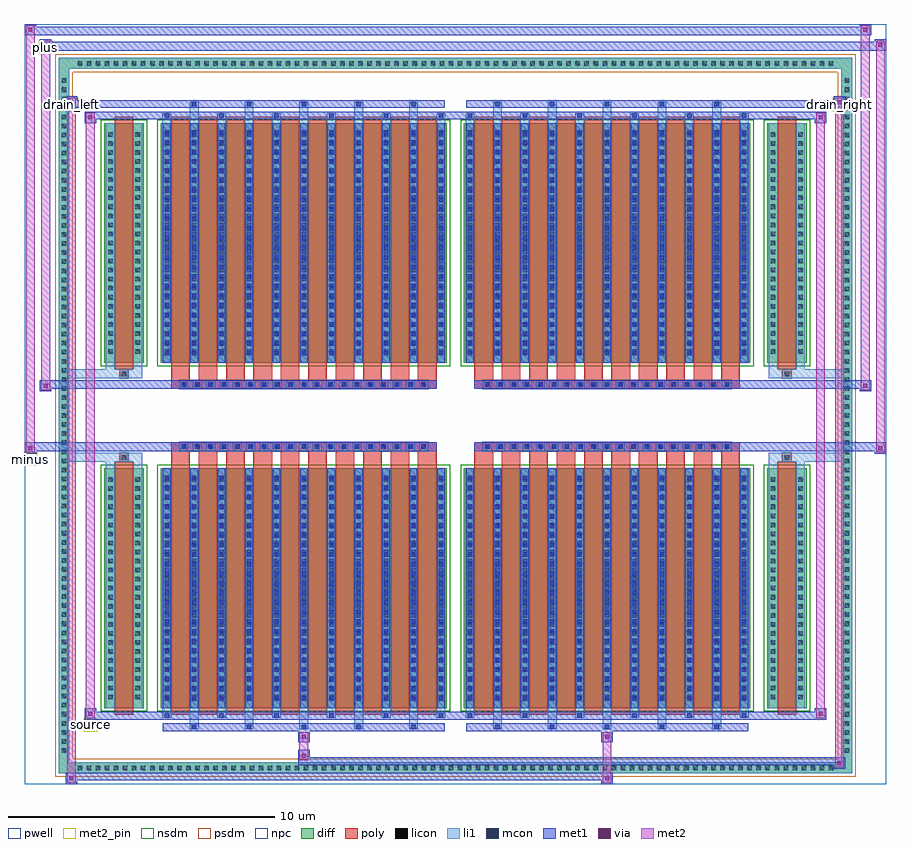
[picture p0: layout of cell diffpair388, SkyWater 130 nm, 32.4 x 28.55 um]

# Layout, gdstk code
import gdstk
lib = gdstk.Library(unit=1e-6, precision=5e-09)
def R(c, l, rs):  # rectangles x0, y0, x1, y1
    for r in rs: c.add(gdstk.rectangle(r[:2], r[2:], *l))
def A(c, l, x, y, w, h, nx, ny, dx, dy):  # array of equal rectangles
    R(c, l, [(x+i*dx, y+j*dy, x+i*dx+w, y+j*dy+h) for i in range(nx) for j in range(ny)])
def P(c, l, *ps):  # polygons
    for p in ps: c.add(gdstk.Polygon(p, *l))
pwell = (64, 44)
diff = (65, 20)
poly = (66, 20)
licon = (66, 44)
li1 = (67, 20)
mcon = (67, 44)
met1 = (68, 20)
via = (68, 44)
met2_pin = (69, 16)
met2 = (69, 20)
nsdm = (93, 44)
psdm = (94, 20)
npc = (95, 20)

diffpair388 = lib.new_cell('diffpair388')
R(diffpair388, pwell, [(-16.18,-13.84,16.18,14.71), (-13.5,-12.03,-0.01,-0.805), (0.01,-12.03,13.5,-0.805), (-13.5,0.805,-0.01,12.03), (0.01,0.805,13.5,12.03)])
A(diffpair388, diff, -14.315, -13.44, 0.41, 0.41, 84, 2, 0.34, 26.47)
A(diffpair388, diff, -14.91, -12.785, 0.41, 0.41, 1, 75, 0, 0.34)
A(diffpair388, diff, 14.5, -12.785, 0.41, 0.41, 1, 75, 0, 0.34)
R(diffpair388, diff, [(-14.315,-13.44,14.315,-13.03), (-14.91,-12.785,-14.5,12.785), (14.5,-12.785,14.91,12.785), (-13.19,-10.985,-11.71,-1.985), (-11.07,-10.985,-0.32,-1.985), (0.32,-10.985,11.07,-1.985), (11.71,-10.985,13.19,-1.985), (-13.19,1.985,-11.71,10.985), (-11.07,1.985,-0.32,10.985), (0.32,1.985,11.07,10.985), (11.71,1.985,13.19,10.985), (-14.315,13.03,14.315,13.44)])
P(diffpair388, diff, [(14.91,13.44),(-14.91,13.44),(-14.91,-13.03),(-14.5,-13.03),(-14.5,13.03),(14.5,13.03),(14.5,-13.03),(-14.5,-13.03),(-14.91,-13.03),(-14.91,-13.44),(14.91,-13.44)])
A(diffpair388, poly, -10.68, -11.235, 0.7, 9.5, 10, 2, 1.03, 12.97)
A(diffpair388, poly, 0.71, -11.235, 0.7, 9.5, 10, 2, 1.03, 12.97)
A(diffpair388, poly, -10.68, -1.735, 0.7, 0.4, 10, 2, 1.03, 3.07)
A(diffpair388, poly, 0.71, -1.735, 0.7, 0.4, 10, 2, 1.03, 3.07)
A(diffpair388, poly, -10.36, -1.335, 0.33, 0.33, 19, 2, 0.5, 2.34)
A(diffpair388, poly, 1.03, -1.335, 0.33, 0.33, 19, 2, 0.5, 2.34)
R(diffpair388, poly, [(-12.8,-11.235,-12.1,-1.735), (12.1,-11.235,12.8,-1.735), (-12.615,-1.735,-12.285,-1.405), (-12.615,-1.735,-12.285,-1.405), (12.285,-1.735,12.615,-1.405), (12.285,-1.735,12.615,-1.405), (-10.68,-1.335,-0.71,-1.005), (0.71,-1.335,10.68,-1.005), (-10.68,1.005,-0.71,1.335), (0.71,1.005,10.68,1.335), (-12.615,1.405,-12.285,1.735), (-12.615,1.405,-12.285,1.735), (12.285,1.405,12.615,1.735), (12.285,1.405,12.615,1.735), (-12.8,1.735,-12.1,11.235), (12.1,1.735,12.8,11.235)])
A(diffpair388, licon, -14.195, -13.32, 0.17, 0.17, 84, 2, 0.34, 26.47)
A(diffpair388, licon, -14.79, -12.665, 0.17, 0.17, 1, 75, 0, 0.34)
A(diffpair388, licon, 14.62, -12.665, 0.17, 0.17, 1, 75, 0, 0.34)
A(diffpair388, licon, -13.05, -10.65, 0.17, 0.17, 1, 25, 0, 0.34)
A(diffpair388, licon, -12.02, -10.65, 0.17, 0.17, 1, 25, 0, 0.34)
A(diffpair388, licon, -10.93, -10.65, 0.17, 0.17, 11, 25, 1.03, 0.34)
A(diffpair388, licon, 0.46, -10.65, 0.17, 0.17, 11, 25, 1.03, 0.34)
A(diffpair388, licon, 11.85, -10.65, 0.17, 0.17, 1, 25, 0, 0.34)
A(diffpair388, licon, 12.88, -10.65, 0.17, 0.17, 1, 25, 0, 0.34)
A(diffpair388, licon, -10.28, -1.255, 0.17, 0.17, 19, 2, 0.5, 2.34)
A(diffpair388, licon, 1.11, -1.255, 0.17, 0.17, 19, 2, 0.5, 2.34)
A(diffpair388, licon, -13.05, 2.32, 0.17, 0.17, 1, 25, 0, 0.34)
A(diffpair388, licon, -12.02, 2.32, 0.17, 0.17, 1, 25, 0, 0.34)
A(diffpair388, licon, -10.93, 2.32, 0.17, 0.17, 11, 25, 1.03, 0.34)
A(diffpair388, licon, 0.46, 2.32, 0.17, 0.17, 11, 25, 1.03, 0.34)
A(diffpair388, licon, 11.85, 2.32, 0.17, 0.17, 1, 25, 0, 0.34)
A(diffpair388, licon, 12.88, 2.32, 0.17, 0.17, 1, 25, 0, 0.34)
R(diffpair388, licon, [(-12.535,-1.655,-12.365,-1.485), (12.365,-1.655,12.535,-1.485), (-12.535,1.485,-12.365,1.655), (12.365,1.485,12.535,1.655)])
A(diffpair388, li1, -14.275, -13.4, 0.33, 0.33, 84, 2, 0.34, 26.47)
A(diffpair388, li1, -14.87, -12.745, 0.33, 0.33, 1, 75, 0, 0.34)
A(diffpair388, li1, 14.54, -12.745, 0.33, 0.33, 1, 75, 0, 0.34)
A(diffpair388, li1, -9.98, -11.79, 0.33, 0.805, 5, 2, 2.06, 22.775)
A(diffpair388, li1, -9.9, -11.79, 0.17, 0.17, 5, 2, 2.06, 23.41)
A(diffpair388, li1, 1.41, -11.79, 0.33, 0.805, 5, 2, 2.06, 22.775)
A(diffpair388, li1, 1.49, -11.79, 0.17, 0.17, 5, 2, 2.06, 23.41)
A(diffpair388, li1, -11.01, -11.36, 0.33, 0.375, 6, 2, 2.06, 22.345)
A(diffpair388, li1, -10.93, -11.36, 0.17, 0.17, 6, 2, 2.06, 22.55)
A(diffpair388, li1, 0.38, -11.36, 0.33, 0.375, 6, 2, 2.06, 22.345)
A(diffpair388, li1, 0.46, -11.36, 0.17, 0.17, 6, 2, 2.06, 22.55)
A(diffpair388, li1, -11.01, -10.985, 0.33, 9, 11, 2, 1.03, 12.97)
A(diffpair388, li1, 0.38, -10.985, 0.33, 9, 11, 2, 1.03, 12.97)
A(diffpair388, li1, -13.13, -10.73, 0.33, 0.33, 1, 25, 0, 0.34)
A(diffpair388, li1, -12.1, -10.73, 0.33, 0.33, 1, 25, 0, 0.34)
A(diffpair388, li1, -11.01, -10.73, 0.33, 0.33, 11, 25, 1.03, 0.34)
A(diffpair388, li1, 0.38, -10.73, 0.33, 0.33, 11, 25, 1.03, 0.34)
A(diffpair388, li1, 11.77, -10.73, 0.33, 0.33, 1, 25, 0, 0.34)
A(diffpair388, li1, 12.8, -10.73, 0.33, 0.33, 1, 25, 0, 0.34)
A(diffpair388, li1, -10.93, -10.71, 0.17, 0.17, 11, 24, 1.03, 0.36)
A(diffpair388, li1, -10.93, -10.71, 0.17, 8.45, 11, 2, 1.03, 12.97)
A(diffpair388, li1, 0.46, -10.71, 0.17, 0.17, 11, 24, 1.03, 0.36)
A(diffpair388, li1, 0.46, -10.71, 0.17, 8.45, 11, 2, 1.03, 12.97)
A(diffpair388, li1, -10.36, -1.335, 0.33, 0.33, 19, 2, 0.5, 2.34)
A(diffpair388, li1, 1.03, -1.335, 0.33, 0.33, 19, 2, 0.5, 2.34)
A(diffpair388, li1, -13.13, 2.24, 0.33, 0.33, 1, 25, 0, 0.34)
A(diffpair388, li1, -12.1, 2.24, 0.33, 0.33, 1, 25, 0, 0.34)
A(diffpair388, li1, -11.01, 2.24, 0.33, 0.33, 11, 25, 1.03, 0.34)
A(diffpair388, li1, 0.38, 2.24, 0.33, 0.33, 11, 25, 1.03, 0.34)
A(diffpair388, li1, 11.77, 2.24, 0.33, 0.33, 1, 25, 0, 0.34)
A(diffpair388, li1, 12.8, 2.24, 0.33, 0.33, 1, 25, 0, 0.34)
A(diffpair388, li1, -10.93, 2.26, 0.17, 0.17, 11, 24, 1.03, 0.36)
A(diffpair388, li1, 0.46, 2.26, 0.17, 0.17, 11, 24, 1.03, 0.36)
R(diffpair388, li1, [(-14.91,-13.44,-14.5,-13.03), (-14.91,-13.44,-14.5,-13.03), (-14.5,-13.44,14.5,-13.03), (14.5,-13.44,14.91,-13.03), (14.5,-13.44,14.91,-13.03), (-14.91,-13.03,-14.5,13.03), (14.5,-13.03,14.91,13.03), (-13.13,-10.985,-12.8,-1.985), (-12.1,-10.985,-11.77,-1.985), (11.77,-10.985,12.1,-1.985), (12.8,-10.985,13.13,-1.985), (-13.13,-1.985,-12.8,-1.405), (-12.1,-1.985,-11.77,-1.405), (11.77,-1.985,12.1,-1.405), (12.8,-1.985,13.13,-1.405), (-14.91,-1.735,-12.615,-1.405), (-13.13,-1.735,-12.615,-1.405), (-12.615,-1.735,-12.285,-1.405), (-12.285,-1.735,-11.77,-1.405), (11.77,-1.735,12.285,-1.405), (12.285,-1.735,12.615,-1.405), (12.285,-1.735,14.91,-1.405), (12.615,-1.735,13.13,-1.405), (-14.91,1.405,-12.615,1.735), (-13.13,1.405,-12.615,1.735), (-13.13,1.405,-12.8,1.985), (-12.615,1.405,-12.285,1.735), (-12.285,1.405,-11.77,1.735), (-12.1,1.405,-11.77,1.985), (11.77,1.405,12.285,1.735), (11.77,1.405,12.1,1.985), (12.285,1.405,12.615,1.735), (12.285,1.405,14.91,1.735), (12.615,1.405,13.13,1.735), (12.8,1.405,13.13,1.985), (-13.13,1.985,-12.8,10.985), (-12.1,1.985,-11.77,10.985), (11.77,1.985,12.1,10.985), (12.8,1.985,13.13,10.985), (-14.91,13.03,-14.5,13.44), (-14.91,13.03,-14.5,13.44), (-14.5,13.03,14.5,13.44), (14.5,13.03,14.91,13.44), (14.5,13.03,14.91,13.44)])
A(diffpair388, mcon, -9.9, -11.79, 0.17, 0.17, 5, 2, 2.06, 23.41)
A(diffpair388, mcon, 1.49, -11.79, 0.17, 0.17, 5, 2, 2.06, 23.41)
A(diffpair388, mcon, -10.93, -11.36, 0.17, 0.17, 6, 2, 2.06, 22.55)
A(diffpair388, mcon, 0.46, -11.36, 0.17, 0.17, 6, 2, 2.06, 22.55)
A(diffpair388, mcon, -10.93, -10.71, 0.17, 0.17, 11, 24, 1.03, 0.36)
A(diffpair388, mcon, 0.46, -10.71, 0.17, 0.17, 11, 24, 1.03, 0.36)
A(diffpair388, mcon, -10.28, -1.255, 0.17, 0.17, 19, 2, 0.5, 2.34)
A(diffpair388, mcon, 1.11, -1.255, 0.17, 0.17, 19, 2, 0.5, 2.34)
A(diffpair388, mcon, -10.93, 2.26, 0.17, 0.17, 11, 24, 1.03, 0.36)
A(diffpair388, mcon, 0.46, 2.26, 0.17, 0.17, 11, 24, 1.03, 0.36)
A(diffpair388, met1, -9.96, -11.85, 0.29, 0.29, 5, 2, 2.06, 23.41)
A(diffpair388, met1, 1.43, -11.85, 0.29, 0.29, 5, 2, 2.06, 23.41)
A(diffpair388, met1, -10.99, -11.42, 0.29, 0.29, 6, 2, 2.06, 22.55)
A(diffpair388, met1, 0.4, -11.42, 0.29, 0.29, 6, 2, 2.06, 22.55)
A(diffpair388, met1, -10.99, -10.985, 0.29, 9, 11, 2, 1.03, 12.97)
A(diffpair388, met1, 0.4, -10.985, 0.29, 9, 11, 2, 1.03, 12.97)
A(diffpair388, met1, -10.99, -10.77, 0.29, 0.29, 11, 24, 1.03, 0.36)
A(diffpair388, met1, 0.4, -10.77, 0.29, 0.29, 11, 24, 1.03, 0.36)
A(diffpair388, met1, -10.34, -1.315, 0.29, 0.29, 19, 2, 0.5, 2.34)
A(diffpair388, met1, 1.05, -1.315, 0.29, 0.29, 19, 2, 0.5, 2.34)
A(diffpair388, met1, -10.99, 2.2, 0.29, 0.29, 11, 24, 1.03, 0.36)
A(diffpair388, met1, 0.4, 2.2, 0.29, 0.29, 11, 24, 1.03, 0.36)
R(diffpair388, met1, [(-14.64,-13.84,-14.21,-13.41), (5.48,-13.84,5.91,-13.41), (-14.64,-13.7,5.91,-13.41), (14.21,-13.27,14.64,-12.84), (-5.91,-13.13,14.64,-12.84), (-5.91,-12.99,-5.48,-12.56), (-5.91,-12.28,-5.48,-11.85), (5.48,-12.28,5.91,-11.85), (-10.99,-11.85,-0.4,-11.56), (0.4,-11.85,10.99,-11.56), (-13.93,-11.42,-13.5,-10.99), (-13.93,-11.42,-10.99,-11.13), (-10.99,-11.42,-0.4,-11.13), (-0.4,-11.42,0.4,-11.13), (0.4,-11.42,10.99,-11.13), (10.99,-11.42,13.93,-11.13), (13.5,-11.42,13.93,-10.99), (-16.18,-1.435,-15.75,-1.005), (15.75,-1.435,16.18,-1.005), (-16.18,-1.335,-0.71,-1.005), (-10.68,-1.335,-0.71,-1.005), (0.71,-1.335,10.68,-1.005), (0.71,-1.335,16.18,-1.005), (-15.61,0.905,-15.18,1.335), (15.18,0.905,15.61,1.335), (-15.61,1.005,-10.68,1.335), (-10.68,1.005,-0.71,1.335), (0.71,1.005,10.68,1.335), (10.68,1.005,15.61,1.335), (-13.93,10.99,-13.5,11.42), (13.5,10.99,13.93,11.42), (-13.93,11.13,-10.99,11.42), (-10.99,11.13,-0.4,11.42), (-0.4,11.13,0.4,11.42), (0.4,11.13,10.99,11.42), (10.99,11.13,13.93,11.42), (-14.64,11.56,-14.21,11.99), (-14.64,11.56,-10.99,11.85), (-10.99,11.56,-0.4,11.85), (0.4,11.56,10.99,11.85), (10.99,11.56,14.64,11.85), (14.21,11.56,14.64,11.99), (-15.61,13.71,-15.18,14.14), (-15.61,13.71,-13.5,14.04), (-13.5,13.71,13.5,14.04), (13.5,13.71,16.18,14.04), (15.75,13.71,16.18,14.14), (-16.18,14.28,-15.75,14.71), (-16.18,14.28,-13.5,14.61), (-13.5,14.28,13.5,14.61), (13.5,14.28,15.61,14.61), (15.18,14.28,15.61,14.71)])
R(diffpair388, via, [(-14.5,-13.7,-14.35,-13.55), (5.62,-13.7,5.77,-13.55), (14.35,-13.13,14.5,-12.98), (-5.77,-12.85,-5.62,-12.7), (-5.77,-12.14,-5.62,-11.99), (5.62,-12.14,5.77,-11.99), (-13.79,-11.28,-13.64,-11.13), (13.64,-11.28,13.79,-11.13), (-16.04,-1.295,-15.89,-1.145), (15.89,-1.295,16.04,-1.145), (-15.47,1.045,-15.32,1.195), (15.32,1.045,15.47,1.195), (-13.79,11.13,-13.64,11.28), (13.64,11.13,13.79,11.28), (-14.5,11.7,-14.35,11.85), (14.35,11.7,14.5,11.85), (-15.47,13.85,-15.32,14), (15.89,13.85,16.04,14), (-16.04,14.42,-15.89,14.57), (15.32,14.42,15.47,14.57)])
R(diffpair388, met2_pin, [(-13.965,-11.87,-13.465,-11.37), (-16.215,-1.885,-15.715,-1.385), (-14.675,11.44,-14.175,11.94), (14.175,11.44,14.675,11.94), (-15.645,13.59,-15.145,14.09)])
R(diffpair388, met2, [(-14.59,-13.79,-14.26,-13.46), (-14.59,-13.79,-14.26,11.94), (5.53,-13.79,5.86,-13.46), (5.53,-13.46,5.86,-12.23), (14.26,-13.22,14.59,-12.89), (14.26,-13.22,14.59,11.94), (-5.86,-12.94,-5.53,-12.61), (-5.86,-12.61,-5.53,-12.23), (-5.86,-12.23,-5.53,-11.9), (5.53,-12.23,5.86,-11.9), (-13.88,-11.37,-13.55,-11.04), (-13.88,-11.37,-13.55,11.37), (13.55,-11.37,13.88,-11.04), (13.55,-11.37,13.88,11.37), (-16.13,-1.385,-15.8,-1.055), (-16.13,-1.385,-15.8,14.66), (15.8,-1.385,16.13,-1.055), (15.8,-1.385,16.13,14.09), (-15.56,0.955,-15.23,1.285), (-15.56,0.955,-15.23,14.09), (15.23,0.955,15.56,1.285), (15.23,0.955,15.56,14.66), (-13.88,11.04,-13.55,11.37), (13.55,11.04,13.88,11.37), (-14.59,11.61,-14.26,11.94), (14.26,11.61,14.59,11.94), (-15.56,13.76,-15.23,14.09), (15.8,13.76,16.13,14.09), (-16.13,14.33,-15.8,14.66), (15.23,14.33,15.56,14.66)])
P(diffpair388, met2, [(16.13,-1.385),(16.13,-1.385),(16.13,-1.055),(16.13,-1.055)],
  [(16.13,13.76),(16.13,13.76),(16.13,14.09),(16.13,14.09)],
  [(-15.8,-1.385),(-15.8,-1.385),(-15.8,-1.055),(-15.8,-1.055)],
  [(-15.8,14.33),(-15.8,14.33),(-15.8,14.66),(-15.8,14.66)],
  [(15.56,0.955),(15.56,0.955),(15.56,1.285),(15.56,1.285)],
  [(15.56,14.33),(15.56,14.33),(15.56,14.66),(15.56,14.66)],
  [(-15.23,0.955),(-15.23,0.955),(-15.23,1.285),(-15.23,1.285)],
  [(-15.23,13.76),(-15.23,13.76),(-15.23,14.09),(-15.23,14.09)],
  [(-14.26,-13.79),(-14.26,-13.79),(-14.26,-13.46),(-14.26,-13.46)],
  [(-14.26,11.61),(-14.26,11.61),(-14.26,11.94),(-14.26,11.94)],
  [(14.59,-13.22),(14.59,-13.22),(14.59,-12.89),(14.59,-12.89)],
  [(14.59,11.61),(14.59,11.61),(14.59,11.94),(14.59,11.94)],
  [(-13.55,-11.37),(-13.55,-11.37),(-13.55,-11.04),(-13.55,-11.04)],
  [(-13.55,11.04),(-13.55,11.04),(-13.55,11.37),(-13.55,11.37)],
  [(13.88,-11.37),(13.88,-11.37),(13.88,-11.04),(13.88,-11.04)],
  [(13.88,11.04),(13.88,11.04),(13.88,11.37),(13.88,11.37)])
R(diffpair388, nsdm, [(-13.32,-11.115,-11.58,-1.855), (-11.2,-11.115,-0.19,-1.855), (0.19,-11.115,11.2,-1.855), (11.58,-11.115,13.32,-1.855), (-13.32,1.855,-11.58,11.115), (-11.2,1.855,-0.19,11.115), (0.19,1.855,11.2,11.115), (11.58,1.855,13.32,11.115)])
P(diffpair388, psdm, [(15.04,13.57),(-15.04,13.57),(-15.04,-12.9),(-14.37,-12.9),(-14.37,12.9),(14.37,12.9),(14.37,-12.9),(-14.37,-12.9),(-15.04,-12.9),(-15.04,-13.57),(15.04,-13.57)])
A(diffpair388, npc, -10.38, -1.355, 0.37, 0.37, 19, 2, 0.5, 2.34)
A(diffpair388, npc, 1.01, -1.355, 0.37, 0.37, 19, 2, 0.5, 2.34)
R(diffpair388, npc, [(-12.635,-1.755,-12.265,-1.385), (12.265,-1.755,12.635,-1.385), (-10.38,-1.355,-9.51,-0.985), (-10.38,-1.355,-9.51,-0.985), (-9.88,-1.355,-9.01,-0.985), (-9.88,-1.355,-9.01,-0.985), (-9.38,-1.355,-8.51,-0.985), (-9.38,-1.355,-8.51,-0.985), (-8.88,-1.355,-8.01,-0.985), (-8.88,-1.355,-8.01,-0.985), (-8.38,-1.355,-7.51,-0.985), (-8.38,-1.355,-7.51,-0.985), (-7.88,-1.355,-7.01,-0.985), (-7.88,-1.355,-7.01,-0.985), (-7.38,-1.355,-6.51,-0.985), (-7.38,-1.355,-6.51,-0.985), (-6.88,-1.355,-6.01,-0.985), (-6.88,-1.355,-6.01,-0.985), (-6.38,-1.355,-5.51,-0.985), (-6.38,-1.355,-5.51,-0.985), (-5.88,-1.355,-5.01,-0.985), (-5.88,-1.355,-5.01,-0.985), (-5.38,-1.355,-4.51,-0.985), (-5.38,-1.355,-4.51,-0.985), (-4.88,-1.355,-4.01,-0.985), (-4.88,-1.355,-4.01,-0.985), (-4.38,-1.355,-3.51,-0.985), (-4.38,-1.355,-3.51,-0.985), (-3.88,-1.355,-3.01,-0.985), (-3.88,-1.355,-3.01,-0.985), (-3.38,-1.355,-2.51,-0.985), (-3.38,-1.355,-2.51,-0.985), (-2.88,-1.355,-2.01,-0.985), (-2.88,-1.355,-2.01,-0.985), (-2.38,-1.355,-1.51,-0.985), (-2.38,-1.355,-1.51,-0.985), (-1.88,-1.355,-1.01,-0.985), (-1.88,-1.355,-1.01,-0.985), (1.01,-1.355,1.88,-0.985), (1.01,-1.355,1.88,-0.985), (1.51,-1.355,2.38,-0.985), (1.51,-1.355,2.38,-0.985), (2.01,-1.355,2.88,-0.985), (2.01,-1.355,2.88,-0.985), (2.51,-1.355,3.38,-0.985), (2.51,-1.355,3.38,-0.985), (3.01,-1.355,3.88,-0.985), (3.01,-1.355,3.88,-0.985), (3.51,-1.355,4.38,-0.985), (3.51,-1.355,4.38,-0.985), (4.01,-1.355,4.88,-0.985), (4.01,-1.355,4.88,-0.985), (4.51,-1.355,5.38,-0.985), (4.51,-1.355,5.38,-0.985), (5.01,-1.355,5.88,-0.985), (5.01,-1.355,5.88,-0.985), (5.51,-1.355,6.38,-0.985), (5.51,-1.355,6.38,-0.985), (6.01,-1.355,6.88,-0.985), (6.01,-1.355,6.88,-0.985), (6.51,-1.355,7.38,-0.985), (6.51,-1.355,7.38,-0.985), (7.01,-1.355,7.88,-0.985), (7.01,-1.355,7.88,-0.985), (7.51,-1.355,8.38,-0.985), (7.51,-1.355,8.38,-0.985), (8.01,-1.355,8.88,-0.985), (8.01,-1.355,8.88,-0.985), (8.51,-1.355,9.38,-0.985), (8.51,-1.355,9.38,-0.985), (9.01,-1.355,9.88,-0.985), (9.01,-1.355,9.88,-0.985), (9.51,-1.355,10.38,-0.985), (9.51,-1.355,10.38,-0.985), (-10.38,0.985,-9.51,1.355), (-10.38,0.985,-9.51,1.355), (-9.88,0.985,-9.01,1.355), (-9.88,0.985,-9.01,1.355), (-9.38,0.985,-8.51,1.355), (-9.38,0.985,-8.51,1.355), (-8.88,0.985,-8.01,1.355), (-8.88,0.985,-8.01,1.355), (-8.38,0.985,-7.51,1.355), (-8.38,0.985,-7.51,1.355), (-7.88,0.985,-7.01,1.355), (-7.88,0.985,-7.01,1.355), (-7.38,0.985,-6.51,1.355), (-7.38,0.985,-6.51,1.355), (-6.88,0.985,-6.01,1.355), (-6.88,0.985,-6.01,1.355), (-6.38,0.985,-5.51,1.355), (-6.38,0.985,-5.51,1.355), (-5.88,0.985,-5.01,1.355), (-5.88,0.985,-5.01,1.355), (-5.38,0.985,-4.51,1.355), (-5.38,0.985,-4.51,1.355), (-4.88,0.985,-4.01,1.355), (-4.88,0.985,-4.01,1.355), (-4.38,0.985,-3.51,1.355), (-4.38,0.985,-3.51,1.355), (-3.88,0.985,-3.01,1.355), (-3.88,0.985,-3.01,1.355), (-3.38,0.985,-2.51,1.355), (-3.38,0.985,-2.51,1.355), (-2.88,0.985,-2.01,1.355), (-2.88,0.985,-2.01,1.355), (-2.38,0.985,-1.51,1.355), (-2.38,0.985,-1.51,1.355), (-1.88,0.985,-1.01,1.355), (-1.88,0.985,-1.01,1.355), (1.01,0.985,1.88,1.355), (1.01,0.985,1.88,1.355), (1.51,0.985,2.38,1.355), (1.51,0.985,2.38,1.355), (2.01,0.985,2.88,1.355), (2.01,0.985,2.88,1.355), (2.51,0.985,3.38,1.355), (2.51,0.985,3.38,1.355), (3.01,0.985,3.88,1.355), (3.01,0.985,3.88,1.355), (3.51,0.985,4.38,1.355), (3.51,0.985,4.38,1.355), (4.01,0.985,4.88,1.355), (4.01,0.985,4.88,1.355), (4.51,0.985,5.38,1.355), (4.51,0.985,5.38,1.355), (5.01,0.985,5.88,1.355), (5.01,0.985,5.88,1.355), (5.51,0.985,6.38,1.355), (5.51,0.985,6.38,1.355), (6.01,0.985,6.88,1.355), (6.01,0.985,6.88,1.355), (6.51,0.985,7.38,1.355), (6.51,0.985,7.38,1.355), (7.01,0.985,7.88,1.355), (7.01,0.985,7.88,1.355), (7.51,0.985,8.38,1.355), (7.51,0.985,8.38,1.355), (8.01,0.985,8.88,1.355), (8.01,0.985,8.88,1.355), (8.51,0.985,9.38,1.355), (8.51,0.985,9.38,1.355), (9.01,0.985,9.88,1.355), (9.01,0.985,9.88,1.355), (9.51,0.985,10.38,1.355), (9.51,0.985,10.38,1.355), (-12.635,1.385,-12.265,1.755), (12.265,1.385,12.635,1.755)])
diffpair388.add(gdstk.Label('minus', (-15.965,-1.635), layer=69, texttype=5))
diffpair388.add(gdstk.Label('drain_right', (14.425,11.69), layer=69, texttype=5))
diffpair388.add(gdstk.Label('drain_left', (-14.425,11.69), layer=69, texttype=5))
diffpair388.add(gdstk.Label('source', (-13.715,-11.62), layer=69, texttype=5))
diffpair388.add(gdstk.Label('plus', (-15.395,13.84), layer=69, texttype=5))

lib.write_gds('diffpair388.gds')
